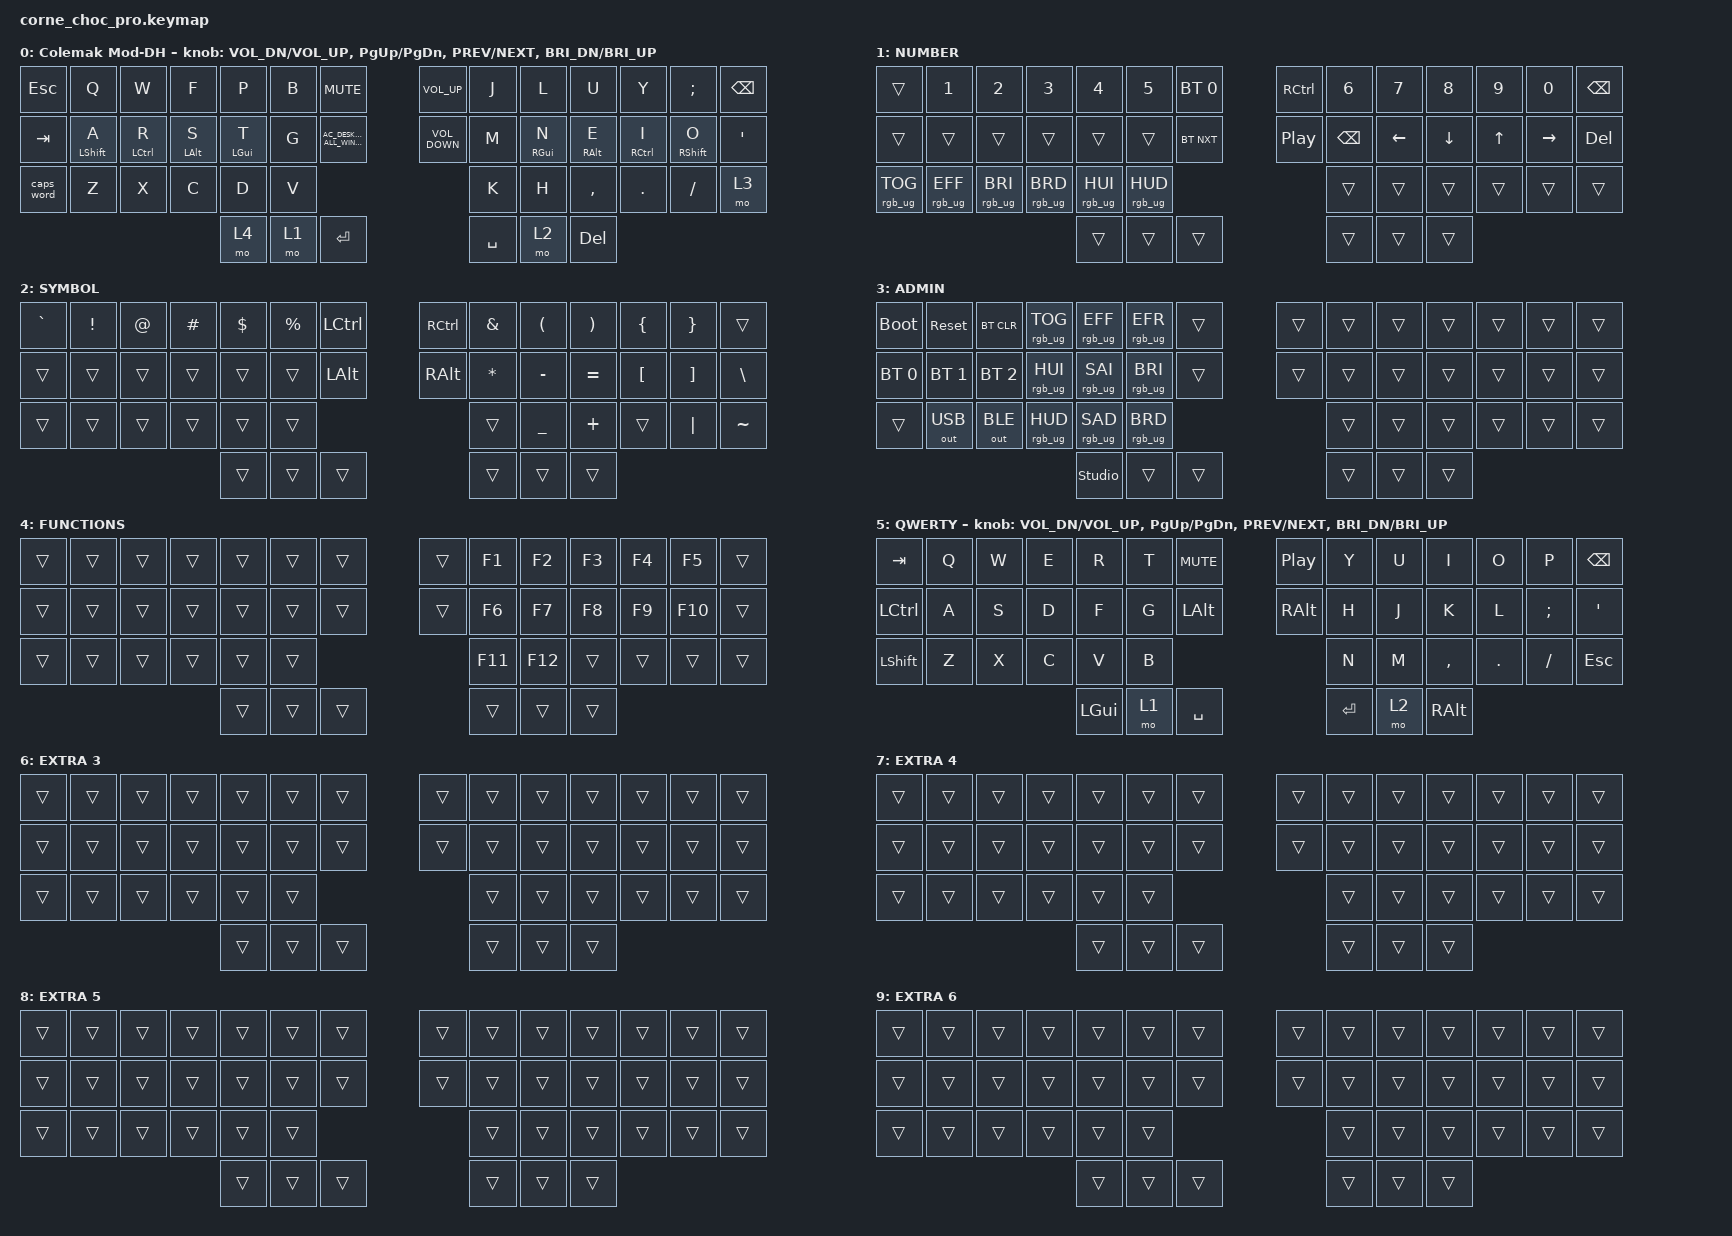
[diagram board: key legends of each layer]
/*
 * Copyright (c) 2020 The ZMK Contributors
 *
 * SPDX-License-Identifier: MIT
 */

#include <behaviors.dtsi>
#include <dt-bindings/zmk/keys.h>
#include <dt-bindings/zmk/bt.h>
#include <dt-bindings/zmk/rgb.h>
#include <dt-bindings/zmk/outputs.h>

/ {
    behaviors{
        hm: hold_tap {
            compatible = "zmk,behavior-hold-tap";
            label = "HOLD_MOD";
            tapping-term-ms = <300>;
            #binding-cells = <2>;
            flavor = "tap-preferred";
            bindings = <&kp>, <&kp>;
        };
    };
    keymap {
        compatible = "zmk,keymap";

        default_layer {
            display-name = "Colemak Mod-DH";
            // ------------------------------------------------------------------------------------
            // | ESC |  Q  |  W  |  F  |  P  |  B  | MUTE     |  VOL_UP   |  J  |  L   |  U  |  Y  |  ;   | BSPC |
            // | TABL |A/SFT|R/CTL|S/ALT|T/GUI|  G  | ALL_WIN | VOL_DOWN  |  M  |N/GUI |E/ALT|I/CTL|O/SFT |  '   |
            // | CAPSW |  Z  |  X  |  C  |  D  |  V  |             |  K  |  H   |  ,  |  .  |  /   | LAYER 3  |
            //                     | GUI | LWR | SPC |             | ENT | RSE  | DEL |
            bindings = <
                &kp ESC      &kp Q          &kp W          &kp F          &kp P          &kp B &kp C_MUTE                          &kp C_VOLUME_UP    &kp J     &kp L        &kp U          &kp Y          &kp SEMI       &kp BSPC
                &kp TAB      &hm LSHFT A    &hm LCTRL R    &hm LALT S     &hm LGUI T     &kp G &kp C_AC_DESKTOP_SHOW_ALL_WINDOWS   &kp C_VOLUME_DOWN  &kp M     &hm RGUI N   &hm RALT E     &hm RCTRL I    &hm RSHFT O    &kp SQT
                &caps_word   &kp Z          &kp X          &kp C          &kp D          &kp V                                                        &kp K     &kp H        &kp COMMA      &kp DOT        &kp FSLH       &mo 3
                                                                          &mo 4 &mo 1 &kp RET                                                      &kp SPACE &mo 2        &kp DEL
            >;
            sensor-bindings = <&inc_dec_kp C_VOL_DN C_VOL_UP &inc_dec_kp PG_UP PG_DN &inc_dec_kp C_PREV C_NEXT &inc_dec_kp C_BRI_DN C_BRI_UP>;
        };

        lower_layer {
            display-name = "NUMBER";
            // -----------------------------------------------------------------------------------------
            // |  TAB |  1  |  2  |  3  |  4  |  5    |  LCTRL | RCTRL |  6  |  7  |  8  |  9  |  0  | BSPC |
            // | CTRL | BT1 | BT2 | BT3 | BT4 | BT5   |  LALT  | RALT  | LFT | DWN |  UP | RGT |     |      |
            // | SHFT | BTCR| RGB | RST | BOOT| Unlock|        |       |     |     |     |     |     |      |
            //                    | GUI |     | SPC   |        | ENT   |     | ALT |
            bindings = <
                &trans           &kp N1           &kp N2           &kp N3            &kp N4           &kp N5          &bt BT_SEL 0      &kp RCTRL         &kp N6   &kp N7   &kp N8   &kp N9 &kp N0    &kp BSPC
                &trans           &trans           &trans           &trans            &trans           &trans          &bt BT_NXT        &kp C_PLAY_PAUSE  &kp BSPC &kp LEFT &kp DOWN &kp UP &kp RIGHT &kp DEL
                &rgb_ug RGB_TOG  &rgb_ug RGB_EFF  &rgb_ug RGB_BRI  &rgb_ug RGB_BRD   &rgb_ug RGB_HUI  &rgb_ug RGB_HUD                                     &trans   &trans   &trans   &trans &trans    &trans
                                                                   &trans            &trans           &trans                                              &trans   &trans   &trans
            >;
        };

        raise_layer {
            display-name = "SYMBOL";
            // -----------------------------------------------------------------------------------------
            // |  TAB |  !  |  @  |  #  |  $  |  %  | LCTRL | RCTRL |  ^  |  &  |  *  |  (  |  )  | BSPC |
            // | CTRL |     |     |     |     |     |  LALT | RALT  |  -  |  =  |  [  |  ]  |  \  |  `   |
            // | SHFT |     |     |     |     |     |               |  _  |  +  |  {  |  }  | "|" |  ~   |
            //                    | GUI |     | SPC |               | ENT |     | ALT |
            bindings = <
                &kp GRAVE  &kp EXCL &kp AT   &kp HASH &kp DLLR  &kp PRCNT &kp LCTRL &kp RCTRL &kp AMPS  &kp LPAR  &kp RPAR &kp LBRC  &kp RBRC  &trans
                &trans     &trans   &trans   &trans   &trans   &trans     &kp LALT  &kp RALT  &kp ASTRK &kp MINUS &kp EQUAL &kp LBKT &kp RBKT  &kp BSLH
                &trans     &trans   &trans   &trans   &trans   &trans                         &trans    &kp UNDER &kp PLUS  &trans   &kp PIPE  &kp TILDE
                                             &trans   &trans   &trans                         &trans    &trans    &trans 
            >;
        };

        admin_layer {
            display-name = "ADMIN";
            bindings = <
                &bootloader   &sys_reset     &bt BT_CLR    &rgb_ug RGB_TOG &rgb_ug RGB_EFF &rgb_ug RGB_EFR   &trans     &trans     &trans    &trans    &trans    &trans    &trans    &trans
                &bt BT_SEL 0  &bt BT_SEL 1   &bt BT_SEL 2  &rgb_ug RGB_HUI &rgb_ug RGB_SAI &rgb_ug RGB_BRI   &trans     &trans     &trans    &trans    &trans    &trans    &trans    &trans
                &trans        &out OUT_USB   &out OUT_BLE  &rgb_ug RGB_HUD &rgb_ug RGB_SAD &rgb_ug RGB_BRD                         &trans    &trans    &trans    &trans    &trans    &trans
                                                           &studio_unlock  &trans          &trans                                  &trans    &trans    &trans
            >;
        };

        f_layer {
            display-name = "FUNCTIONS";
            bindings = <
                &trans &trans &trans &trans &trans &trans &trans &trans &kp F1 &kp F2 &kp F3 &kp F4 &kp F5 &trans
                &trans &trans &trans &trans &trans &trans &trans &trans &kp F6 &kp F7 &kp F8 &kp F9 &kp F10 &trans
                &trans &trans &trans &trans &trans &trans               &kp F11 &kp F12 &trans &trans &trans &trans
                                        &trans &trans &trans               &trans &trans &trans       
            >;
        };

        extra_layer_1 {
            display-name = "QWERTY";
            // --------------------------------------------------------------------------------
            // |  TAB |  Q  |  W  |  E  |  R  |  T  |  MUTE |  PP   |  Y  |  U   |  I  |  O  |  P  | BSPC |
            // | CTRL |  A  |  S  |  D  |  F  |  G  |  LALT |  RALT |  H  |  J   |  K  |  L  |  ;  |  '   |
            // | SHFT |  Z  |  X  |  C  |  V  |  B  |               |  N  |  M   |  ,  |  .  |  /  | ESC  |
            //                    | GUI | LWR | SPC |               | ENT | RSE  | ALT |
            bindings = <
                &kp TAB   &kp Q &kp W &kp E &kp R &kp T &kp C_MUTE &kp C_PP &kp Y &kp U  &kp I     &kp O   &kp P    &kp BSPC
                &kp LCTRL &kp A &kp S &kp D &kp F &kp G &kp LALT   &kp RALT &kp H &kp J  &kp K     &kp L   &kp SEMI &kp SQT
                &kp LSHFT &kp Z &kp X &kp C &kp V &kp B                     &kp N &kp M  &kp COMMA &kp DOT &kp FSLH &kp ESC
                                      &kp LGUI &mo 1 &kp SPACE              &kp RET &mo 2 &kp RALT
            >;
            sensor-bindings = <&inc_dec_kp C_VOL_DN C_VOL_UP &inc_dec_kp PG_UP PG_DN &inc_dec_kp C_PREV C_NEXT &inc_dec_kp C_BRI_DN C_BRI_UP>;
        };

        extra_layer_3 {
            display-name = "EXTRA 3";
            bindings = <
                &trans &trans &trans &trans &trans &trans &trans &trans &trans &trans &trans &trans &trans &trans
                &trans &trans &trans &trans &trans &trans &trans &trans &trans &trans &trans &trans &trans &trans
                &trans &trans &trans &trans &trans &trans               &trans &trans &trans &trans &trans &trans
                                     &trans &trans &trans               &trans &trans &trans       
            >;
        };

        extra_layer_4 {
            display-name = "EXTRA 4";
            bindings = <
                &trans &trans &trans &trans &trans &trans &trans &trans &trans &trans &trans &trans &trans &trans
                &trans &trans &trans &trans &trans &trans &trans &trans &trans &trans &trans &trans &trans &trans
                &trans &trans &trans &trans &trans &trans               &trans &trans &trans &trans &trans &trans
                                     &trans &trans &trans               &trans &trans &trans       
            >;
        };

        extra_layer_5 {
            display-name = "EXTRA 5";
            bindings = <
                &trans &trans &trans &trans &trans &trans &trans &trans &trans &trans &trans &trans &trans &trans
                &trans &trans &trans &trans &trans &trans &trans &trans &trans &trans &trans &trans &trans &trans
                &trans &trans &trans &trans &trans &trans               &trans &trans &trans &trans &trans &trans
                                     &trans &trans &trans               &trans &trans &trans       
            >;
        };

        extra_layer_6 {
            display-name = "EXTRA 6";
            bindings = <
                &trans &trans &trans &trans &trans &trans &trans &trans &trans &trans &trans &trans &trans &trans
                &trans &trans &trans &trans &trans &trans &trans &trans &trans &trans &trans &trans &trans &trans
                &trans &trans &trans &trans &trans &trans               &trans &trans &trans &trans &trans &trans
                                     &trans &trans &trans               &trans &trans &trans       
            >;
        };
    };
};
